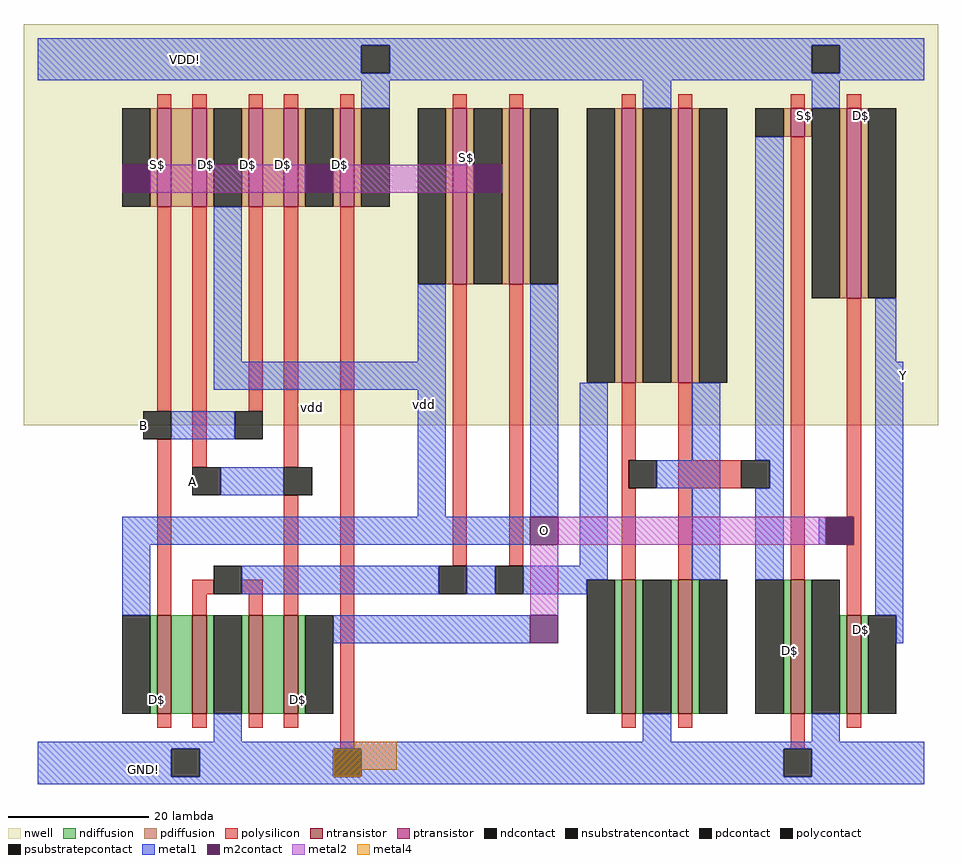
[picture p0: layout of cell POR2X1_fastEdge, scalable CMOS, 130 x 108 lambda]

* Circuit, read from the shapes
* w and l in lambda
.subckt POR2X1_fastEdge VDD! GND! B A Y
M1 n1 B O GND! nfet w=14 l=2
M2 GND! n2 n1 GND! nfet w=14 l=2
M3 n3 n2 GND! GND! nfet w=14 l=2
M4 O A n3 GND! nfet w=14 l=2
M5 GND! n4 n2 GND! nfet w=19 l=2
M6 n4 n5 GND! GND! nfet w=19 l=2
M7 GND! GND! n5 GND! nfet w=19 l=2
M8 Y O GND! GND! nfet w=14 l=2
M9 n6 B VVDD VDD! pfet w=14 l=2
M10 O A n6 VDD! pfet w=14 l=2
M11 n7 B O VDD! pfet w=14 l=2
M12 VVDD A n7 VDD! pfet w=14 l=2
M13 VDD! GND! VVDD VDD! pfet w=14 l=2
M14 VVDD n2 O VDD! pfet w=25 l=2 m=2
M15 VDD! n4 n2 VDD! pfet w=39 l=2
M16 n4 n5 VDD! VDD! pfet w=39 l=2
M17 VDD! GND! n5 VDD! pfet w=4 l=2
M18 Y O VDD! VDD! pfet w=27 l=2
.ends

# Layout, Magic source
magic
tech scmos
<< nwell >>
rect 12 48 142 105
<< ntransistor >>
rect 31 7 33 21
rect 36 7 38 21
rect 44 7 46 21
rect 49 7 51 21
rect 97 7 99 26
rect 105 7 107 26
rect 121 7 123 26
rect 129 7 131 21
<< ptransistor >>
rect 31 79 33 93
rect 36 79 38 93
rect 44 79 46 93
rect 49 79 51 93
rect 57 79 59 93
rect 73 68 75 93
rect 81 68 83 93
rect 97 54 99 93
rect 105 54 107 93
rect 121 89 123 93
rect 129 66 131 93
<< ndiffusion >>
rect 30 7 31 21
rect 33 7 36 21
rect 38 7 39 21
rect 43 7 44 21
rect 46 7 49 21
rect 51 7 52 21
rect 96 7 97 26
rect 99 7 100 26
rect 104 7 105 26
rect 107 7 108 26
rect 120 7 121 26
rect 123 7 124 26
rect 128 7 129 21
rect 131 7 132 21
<< pdiffusion >>
rect 30 79 31 93
rect 33 79 36 93
rect 38 79 39 93
rect 43 79 44 93
rect 46 79 49 93
rect 51 79 52 93
rect 56 79 57 93
rect 59 79 60 93
rect 72 68 73 93
rect 75 68 76 93
rect 80 68 81 93
rect 83 68 84 93
rect 96 54 97 93
rect 99 54 100 93
rect 104 54 105 93
rect 107 54 108 93
rect 120 89 121 93
rect 123 89 124 93
rect 128 66 129 93
rect 131 66 132 93
<< ndcontact >>
rect 26 7 30 21
rect 39 7 43 21
rect 52 7 56 21
rect 92 7 96 26
rect 100 7 104 26
rect 108 7 112 26
rect 116 7 120 26
rect 124 7 128 26
rect 132 7 136 21
<< pdcontact >>
rect 26 79 30 93
rect 39 79 43 93
rect 52 79 56 93
rect 60 79 64 93
rect 68 68 72 93
rect 76 68 80 93
rect 84 68 88 93
rect 92 54 96 93
rect 100 54 104 93
rect 108 54 112 93
rect 116 89 120 93
rect 124 66 128 93
rect 132 66 136 93
<< psubstratepcontact >>
rect 33 -2 37 2
<< nsubstratencontact >>
rect 60 98 64 102
rect 124 98 128 102
<< polysilicon >>
rect 31 93 33 95
rect 36 93 38 95
rect 44 93 46 95
rect 49 93 51 95
rect 57 93 59 95
rect 73 93 75 95
rect 81 93 83 95
rect 97 93 99 95
rect 105 93 107 95
rect 121 93 123 95
rect 129 93 131 95
rect 31 50 33 79
rect 31 21 33 46
rect 36 42 38 79
rect 44 50 46 79
rect 49 42 51 79
rect 36 24 39 26
rect 43 24 46 26
rect 36 21 38 24
rect 44 21 46 24
rect 49 21 51 38
rect 31 5 33 7
rect 36 5 38 7
rect 44 5 46 7
rect 49 5 51 7
rect 57 2 59 79
rect 73 28 75 68
rect 81 28 83 68
rect 97 43 99 54
rect 105 43 107 54
rect 97 39 98 43
rect 105 39 114 43
rect 97 26 99 39
rect 105 26 107 39
rect 121 26 123 89
rect 129 35 131 66
rect 130 31 131 35
rect 129 21 131 31
rect 97 5 99 7
rect 105 5 107 7
rect 121 2 123 7
rect 129 5 131 7
<< polycontact >>
rect 29 46 33 50
rect 42 46 46 50
rect 36 38 40 42
rect 49 38 53 42
rect 39 24 43 28
rect 71 24 75 28
rect 79 24 83 28
rect 98 39 102 43
rect 114 39 118 43
rect 126 31 130 35
rect 56 -2 60 2
rect 120 -2 124 2
<< metal1 >>
rect 14 102 140 103
rect 14 98 60 102
rect 64 98 124 102
rect 128 98 140 102
rect 14 97 140 98
rect 60 93 64 97
rect 100 93 104 97
rect 124 93 128 97
rect 39 57 43 79
rect 68 57 72 68
rect 39 53 72 57
rect 33 46 42 50
rect 40 38 49 42
rect 68 35 72 53
rect 84 35 88 68
rect 26 31 84 35
rect 26 21 30 31
rect 91 28 95 54
rect 107 43 111 54
rect 116 43 120 89
rect 102 39 111 43
rect 118 39 120 43
rect 43 24 71 28
rect 75 24 79 28
rect 83 26 95 28
rect 107 26 111 39
rect 116 26 120 39
rect 133 57 136 66
rect 125 31 126 35
rect 83 24 92 26
rect 56 17 84 21
rect 133 21 137 57
rect 136 17 137 21
rect 39 3 43 7
rect 100 3 104 7
rect 124 3 128 7
rect 14 2 140 3
rect 14 -2 33 2
rect 37 -2 56 2
rect 60 -2 120 2
rect 124 -2 140 2
rect 14 -3 140 -2
<< m2contact >>
rect 26 81 30 85
rect 52 81 56 85
rect 76 81 80 85
rect 84 31 88 35
rect 126 31 130 35
rect 84 17 88 21
<< metal2 >>
rect 30 81 52 85
rect 56 81 76 85
rect 88 31 126 35
rect 84 21 88 31
<< metal4 >>
rect 59 2 65 3
rect 56 -1 65 2
rect 56 -2 60 -1
<< labels >>
rlabel space 1 -3 105 104 1 vdd
rlabel space 1 -3 105 104 1 gnd
rlabel metal1 35 100 35 100 1 VDD!
port 1 n power bidirectional
rlabel ptransistor 31 85 31 85 1 S$
rlabel ptransistor 33 85 33 85 1 D$
rlabel ptransistor 49 85 49 85 1 D$
rlabel ptransistor 51 85 51 85 1 S$
rlabel ptransistor 44 85 44 85 1 D$
rlabel ptransistor 38 85 38 85 1 D$
rlabel ptransistor 36 85 36 85 1 S$
rlabel ptransistor 46 85 46 85 1 S$
rlabel ptransistor 57 85 57 85 1 D$
rlabel ptransistor 59 85 59 85 1 S$
rlabel metal1 29 -1 29 -1 1 GND!
port 2 n power bidirectional
rlabel polycontact 29 46 29 50 1 B
port 3 n signal input
rlabel space -4 -3 110 105 1 vdd
rlabel space -4 -3 110 105 1 gnd
rlabel polycontact 36 38 36 42 1 A
port 4 n signal input
rlabel ptransistor 75 86 75 86 1 S$
rlabel ptransistor 73 85 73 85 1 D$
rlabel ntransistor 51 9 51 9 1 D$
rlabel ntransistor 49 9 49 9 1 S$
rlabel ntransistor 31 9 31 9 1 D$
rlabel ntransistor 33 9 33 9 1 S$
rlabel pdcontact 54 86 54 86 1 VVDD
rlabel ntransistor 131 19 131 19 1 D$
rlabel ntransistor 129 19 129 19 1 S$
rlabel metal1 137 53 137 57 1 Y
port 5 n signal output
rlabel ntransistor 121 16 121 16 1 D$
rlabel ntransistor 123 16 123 16 1 S$
rlabel ptransistor 123 92 123 92 1 S$
rlabel ptransistor 121 92 121 92 1 D$
rlabel ptransistor 131 92 131 92 1 D$
rlabel ptransistor 129 92 129 92 1 S$
rlabel m2contact 86 33 86 33 1 O
rlabel space -4 -3 142 105 1 vdd
rlabel space -4 -3 142 105 1 gnd
<< end >>
